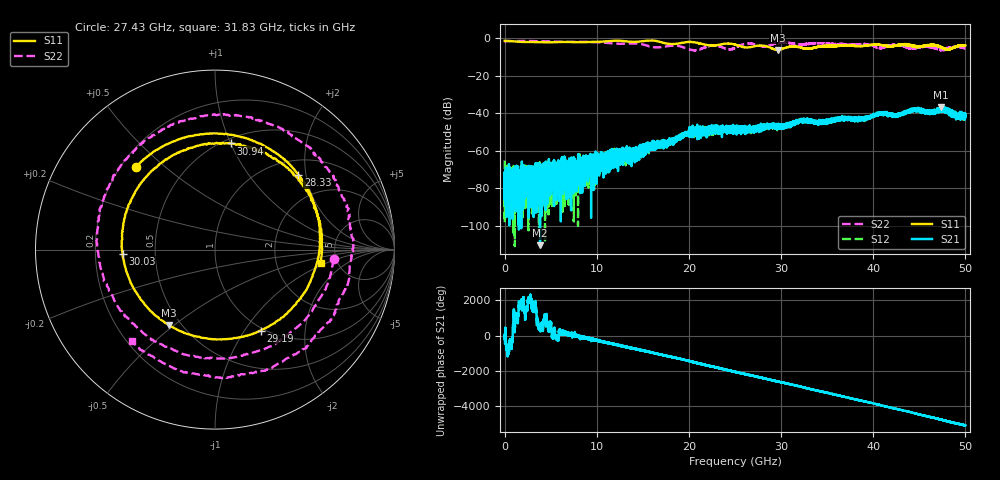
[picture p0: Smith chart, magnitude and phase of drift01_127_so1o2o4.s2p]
!Created with skrf (http://scikit-rf.org).
# Hz S RI R 50.0
!freq ReS11 ImS11 ReS21 ImS21 ReS12 ImS12 ReS22 ImS22
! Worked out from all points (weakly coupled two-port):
!   10001 points, 300 kHz to 50 GHz, reference 50 ohm
!   highest |S21| = -36.70 dB at 47.38 GHz (marker M1); lowest = -110.3 dB at 3.845 GHz (marker M2)
!   lowest |S11| = -6.2 dB at 29.62 GHz (marker M3), VSWR 2.93, Z = 21.6 - j23.9 ohm
!   |S11| at or under -10 dB: nowhere
!   |S22| runs from -6.4 to -1.4 dB; largest |S21 - S12| = 0.0038
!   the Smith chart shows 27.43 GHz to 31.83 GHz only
!   S11 on the Smith chart (normalised r, x): 27.43 GHz: 0.26, +0.40; 28.33 GHz: 1.33, +1.81; 29.19 GHz: 0.96, -1.19; 30.03 GHz: 0.32, -0.02; 30.94 GHz: 0.55, +1.00; 31.83 GHz: 3.71, -0.83
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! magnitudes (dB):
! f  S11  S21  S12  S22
! 300 kHz  -1.3  -71.6  -65.1  -2.1
! 255.3 MHz  -1.4  -82.5  -86.1  -1.4
! 390.3 MHz  -1.4  -75.0  -81.0  -1.4
! 3.845 GHz  -2.0  -110.3  -76.9  -1.5
! 5.645 GHz  -2.0  -78.1  -70.0  -1.7
! 8.335 GHz  -2.0  -70.8  -68.8  -1.8
! 16.67 GHz  -1.6  -56.2  -56.7  -4.8
! 18.62 GHz  -2.9  -53.0  -54.4  -3.9
! 20.24 GHz  -1.9  -51.8  -49.4  -6.1
! 22.62 GHz  -3.8  -50.2  -49.7  -3.8
! 25 GHz  -3.3  -48.0  -48.2  -5.1
! 27.43 GHz  -3.9  -46.5  -48.7  -3.5
! 28.33 GHz  -4.1  -47.9  -48.3  -4.2
! 29.19 GHz  -5.7  -47.2  -46.9  -3.0
! 29.62 GHz  -6.2  -47.4  -46.9  -2.5
! 30.03 GHz  -5.8  -47.8  -47.4  -2.3
! 30.94 GHz  -4.5  -45.6  -46.1  -2.5
! 31.83 GHz  -4.5  -43.9  -44.3  -3.3
! 33.34 GHz  -5.2  -44.3  -44.4  -2.6
! 41.67 GHz  -4.4  -40.4  -40.7  -4.3
! 47.38 GHz  -4.5  -36.7  -38.4  -5.8
! 50 GHz  -3.8  -41.5  -41.9  -5.3
